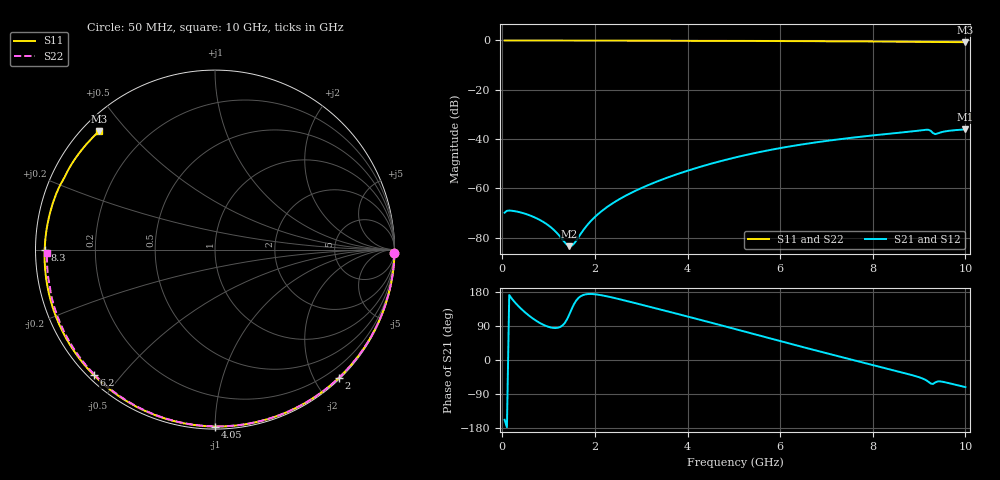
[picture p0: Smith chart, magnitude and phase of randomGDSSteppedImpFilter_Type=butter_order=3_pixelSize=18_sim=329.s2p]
! freq	dB(S11)	phase(S11)	dB(S12)	phase(S12)
!  dB(S21)	phase(S21)	dB(S22)	phase(S22)
!S-par simulation data
#  GHz  S  DB  R 50
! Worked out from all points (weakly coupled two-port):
!   200 points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, 50 MHz to 10 GHz, reference 50 ohm
!   highest |S21| = -36.10 dB at 10 GHz (marker M1); lowest = -83.5 dB at 1.45 GHz (marker M2)
!   lowest |S11| = -0.7 dB at 10 GHz (marker M3), VSWR 24.88, Z = 2.37 + j21.1 ohm
!   |S11| at or under -10 dB: nowhere
!   |S22| runs from -0.6 to 0.0 dB; largest |S21 - S12| = 0
!   S11 on the Smith chart (normalised r, x): 50 MHz: 0, -98; 2 GHz: 0.02, -2.36; 4.05 GHz: 0.01, -1.00; 6.2 GHz: 0.02, -0.42; 8.3 GHz: 0.03, -0.00; 10 GHz: 0.05, +0.42
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0.05  -0.00 -1.2  -69.90 -157.7  -69.90 -157.7  -0.00 -1.0
0.1  -0.00 -2.3  -69.12 -177.4  -69.12 -177.4  -0.00 -2.1
0.2  -0.00 -4.7  -69.09 162.7  -69.09 162.7  -0.00 -4.2
0.6  -0.01 -14.0  -71.03 114.9  -71.03 114.9  -0.01 -12.5
0.95  -0.03 -22.1  -74.43 89.6  -74.43 89.6  -0.02 -19.8
1.25  -0.04 -29.0  -79.64 87.1  -79.64 87.1  -0.03 -25.9
1.45  -0.04 -33.5  -83.49 120.8  -83.49 120.8  -0.04 -30.0
1.65  -0.05 -38.1  -79.72 164.4  -79.72 164.4  -0.04 -34.0
1.75  -0.05 -40.3  -76.97 171.6  -76.97 171.6  -0.05 -36.0
2  -0.06 -45.9  -71.63 173.5  -71.63 173.5  -0.05 -41.0
2.55  -0.07 -58.1  -64.18 159.9  -64.18 159.9  -0.07 -51.8
3.4  -0.10 -76.4  -56.82 133.7  -56.82 133.7  -0.09 -68.0
4.05  -0.13 -90.0  -52.57 113.2  -52.57 113.2  -0.11 -79.9
5.05  -0.17 -110.5  -47.40 81.0  -47.40 81.0  -0.15 -97.4
6.2  -0.25 -134.0  -43.03 43.5  -43.03 43.5  -0.21 -116.7
6.7  -0.29 -144.4  -41.56 27.4  -41.56 27.4  -0.24 -124.9
7.55  -0.37 -162.7  -39.48 0.8  -39.48 0.8  -0.31 -138.6
8.3  -0.45 -179.9  -37.96 -22.4  -37.96 -22.4  -0.38 -150.7
8.35  -0.46 178.9  -37.86 -23.9  -37.86 -23.9  -0.38 -151.5
9.15  -0.58 158.5  -36.25 -53.2  -36.25 -53.2  -0.47 -164.6
9.35  -0.63 153.2  -38.02 -59.2  -38.02 -59.2  -0.51 -167.8
10  -0.70 134.2  -36.10 -71.5  -36.10 -71.5  -0.57 -178.8
